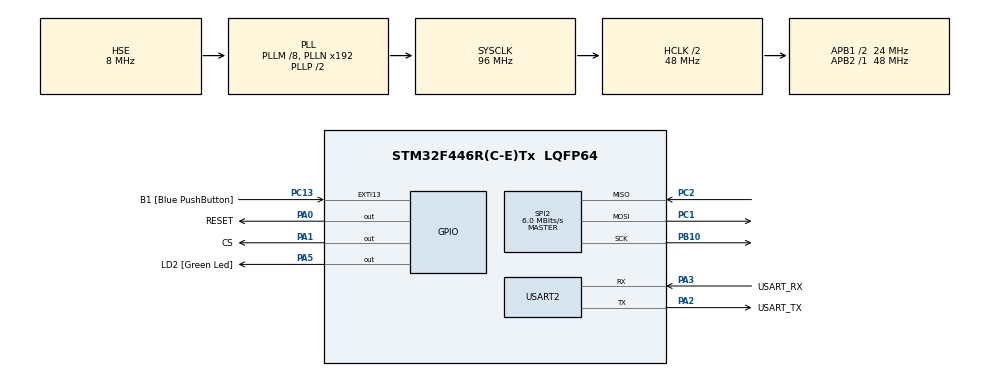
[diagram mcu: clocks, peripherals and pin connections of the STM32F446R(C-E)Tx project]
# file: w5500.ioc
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Mcu.Family=STM32F4
Mcu.Name=STM32F446R(C-E)Tx
Mcu.Package=LQFP64
NVIC.PriorityGroup=NVIC_PRIORITYGROUP_0
PA0-WKUP.GPIO_Label=RESET
PA0-WKUP.Signal=GPIO_Output
PA1.GPIO_Label=CS
PA1.Signal=GPIO_Output
PA13.GPIO_Label=TMS
PA13.Mode=Serial_Wire
PA13.Signal=SYS_JTMS-SWDIO
PA14.GPIO_Label=TCK
PA14.Mode=Serial_Wire
PA14.Signal=SYS_JTCK-SWCLK
PA2.GPIO_Label=USART_TX
PA2.Mode=Asynchronous
PA2.Signal=USART2_TX
PA3.GPIO_Label=USART_RX
PA3.Mode=Asynchronous
PA3.Signal=USART2_RX
PA5.GPIO_Label=LD2 [Green Led]
PA5.Signal=GPIO_Output
PB10.Mode=Full_Duplex_Master
PB10.Signal=SPI2_SCK
PB3.GPIO_Label=SWO
PB3.Signal=SYS_JTDO-SWO
PC1.Mode=Full_Duplex_Master
PC1.Signal=SPI2_MOSI
PC13.GPIO_Label=B1 [Blue PushButton]
PC13.GPIO_ModeDefaultEXTI=GPIO_MODE_IT_FALLING
PC13.Signal=GPXTI13
PC14-OSC32_IN.Signal=RCC_OSC32_IN
PC15-OSC32_OUT.Signal=RCC_OSC32_OUT
PC2.Mode=Full_Duplex_Master
PC2.Signal=SPI2_MISO
PH0-OSC_IN.Mode=HSE-External-Oscillator
PH0-OSC_IN.Signal=RCC_OSC_IN
PH1-OSC_OUT.Mode=HSE-External-Oscillator
PH1-OSC_OUT.Signal=RCC_OSC_OUT
ProjectManager.HeapSize=0x200
ProjectManager.StackSize=0x400
ProjectManager.TargetToolchain=STM32CubeIDE
RCC.48MHZClocksFreq_Value=84000000
RCC.AHBCLKDivider=RCC_SYSCLK_DIV2
RCC.AHBFreq_Value=48000000
RCC.APB1CLKDivider=RCC_HCLK_DIV2
RCC.APB1Freq_Value=24000000
RCC.APB1TimFreq_Value=48000000
RCC.APB2Freq_Value=48000000
RCC.APB2TimFreq_Value=48000000
RCC.CortexFreq_Value=48000000
RCC.FLatency-AdvancedSettings=FLASH_LATENCY_1
RCC.HCLKFreq_Value=48000000
RCC.HSE_VALUE=8000000
RCC.HSI_VALUE=16000000
RCC.PLLM=8
RCC.PLLSourceVirtual=RCC_PLLSOURCE_HSE
RCC.SYSCLKFreq_VALUE=96000000
RCC.SYSCLKSource=RCC_SYSCLKSOURCE_PLLCLK
RCC.USBFreq_Value=96000000
RCC.VCOOutputFreq_Value=192000000
SPI2.BaudRatePrescaler=SPI_BAUDRATEPRESCALER_4
SPI2.CalculateBaudRate=6.0 MBits/s
SPI2.Direction=SPI_DIRECTION_2LINES
SPI2.Mode=SPI_MODE_MASTER
SPI2.VirtualType=VM_MASTER
USART2.VirtualMode=VM_ASYNC
board=NUCLEO-F446RE

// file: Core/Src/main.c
/* USER CODE BEGIN Header */
/**
  ******************************************************************************
  * @file           : main.c
  * @brief          : Main program body
  ******************************************************************************
  * @attention
  *
  * Copyright (c) 2025 STMicroelectronics.
  * All rights reserved.
  *
  * This software is licensed under terms that can be found in the LICENSE file
  * in the root directory of this software component.
  * If no LICENSE file comes with this software, it is provided AS-IS.
  *
  ******************************************************************************
  */
/* USER CODE END Header */
#include "main.h"
#include "spi.h"
#include "usart.h"
#include "gpio.h"

/* USER CODE BEGIN Includes */
#include <stdio.h>
#include <string.h>

#include "w5500_spi.h"
#include "wizchip_conf.h"
#include "socket.h"

/* USER CODE END Includes */

/* USER CODE BEGIN PD */
#define LISTEN_PORT 5000
#define RECEIVE_BUFF_SIZE 128
/* USER CODE END PD */

/* USER CODE BEGIN PV */
uint8_t receive_buff[RECEIVE_BUFF_SIZE];
/* USER CODE END PV */

void SystemClock_Config(void);
/* USER CODE BEGIN PFP */
void SystemClock_Config(void);
static void UWriteData(const char data);
static void PHYStatusCheck(void);
static void PrintPHYConf(void);
/* USER CODE END PFP */

/* USER CODE BEGIN 0 */
wiz_NetInfo gWIZNETINFO = {
		.mac = { 0x80, 0x34, 0x28, 0x74, 0xA5, 0xCB },//MSB - LSB
		.ip ={ 192, 168, 2, 112 },
		.sn = { 255, 255, 255, 0 },
		.gw ={ 192, 168, 1, 1 },
		.dns = { 8, 8, 8, 8 },
		.dhcp = NETINFO_STATIC };
/* USER CODE END 0 */

int main(void)
{

  /* MCU Configuration--------------------------------------------------------*/

  /* Reset of all peripherals, Initializes the Flash interface and the Systick. */
  HAL_Init();

  /* USER CODE BEGIN Init */
  setbuf(stdout, NULL);//disable printf() buffering, output immediately to port.
  /* USER CODE END Init */

  /* Configure the system clock */
  SystemClock_Config();

  /* Initialize all configured peripherals */
  MX_GPIO_Init();
  MX_USART2_UART_Init();
  MX_SPI2_Init();
  /* USER CODE BEGIN 2 */
  printf("A Simple TCP Echo Server Application using W5500!\r\n");

  //Configure network parameters like IP address etc
    ctlnetwork(CN_SET_NETINFO, (void*) &gWIZNETINFO);

    //Configure PHY by software for maximum compatibility
    //so that user can use any model w5500 board
    //else the PINs on the board configure it, which may
    //lead to different configurations in different boards.
    wiz_PhyConf phyconf;

    phyconf.by=PHY_CONFBY_SW;
    phyconf.duplex=PHY_DUPLEX_FULL;
    phyconf.speed=PHY_SPEED_10;//10MBps Ethernet link speed
    phyconf.mode=PHY_MODE_AUTONEGO;//best to go with auto-negotiation

    ctlwizchip(CW_SET_PHYCONF, (void*) &phyconf);//PHY Configuration Command
    //*** End Phy Configuration

    PHYStatusCheck();
    PrintPHYConf();

    //^^^^^^^^^^^^^^^^^^^^^^^^^^^^^^^^^^^^^^^^^^^
     //The above code are common to all projects
     //TCP Echo Server Code begins from here
     //We will listen on socket ID:1 and TCP Port Would be 5000

     printf("\r\n*****************SIMPLE TCP ECHO SERVER******************\r\n");
  /* USER CODE END 2 */

  /* Infinite loop */
  while (1)
  {

    /* USER CODE BEGIN 3 */
	  printf("\r\nInitializing server socket\r\n");

	  	  //Parameters in order socket_id, protocol TCP or UDP, Port number, Flags=0
	  	  //Return value is socket ID on success
	  	  if(socket(1,Sn_MR_TCP,LISTEN_PORT,0)!=1)
	  	  {
	  		  //error
	  		  printf("Cannot create Socket!\r\n");
	  		  while(1);//halt here
	  	  }

	  	  //success
	  	  printf("Socket Created Successfully ! \r\n");

	  	  uint8_t socket_io_mode=SOCK_IO_BLOCK;

	  	  ctlsocket(1, CS_SET_IOMODE , &socket_io_mode);//set blocking IO mode

	  	  printf("Start listening on port %d ! \r\n",LISTEN_PORT);
	  	  printf("Waiting for a client connection. \r\n");

	  	  //Make it a passive socket (i.e. listen for connection)
	  	  if(listen(1)!=SOCK_OK)//our socket id is 1 (w5500 have 8 sockets from 0-7)
	  	  {
	  		  //error
	  		  printf("Cannot listen on port %d",LISTEN_PORT);

	  		  while(1);

	  	  }

	  	  uint8_t sr=0x00;//socket status register

	  	  do
	  	  {
	  		  sr=getSn_SR(1);//read status reg (SR of socket 1)
	  	  }while (sr!=0x17 && sr!=0x00);

	  	  if(sr==0x00)
	  	  {
	  		  printf("Some error occurred on server socket. Please restart.\r\n");
	  		  while(1);
	  	  }

	  	  if(sr==0x17)
	  	  {
	  		  //we come here only when a client has connected.
	  		  //Now we can read data from the socket
	  		  printf("A client connected!\r\n");
	  		  printf("Waiting for Client Data ...!\r\n");

	  		  while(1)
	  		  {
	  			  int len=recv(1, receive_buff, RECEIVE_BUFF_SIZE);

	  			  if(len==SOCKERR_SOCKSTATUS)
	  			  {
	  				  //client has disconnected
	  				  printf("Client has disconnected\r\n");
	  				  printf("*** SESSION OVER ***\r\n\r\n");
	  				  break;
	  			  }

	  			  receive_buff[len]='\0';

	  			  printf("Received %d bytes from client\r\n",len);
	  			  printf("Data Received: %s", receive_buff);

	  			  //Echo the data back encloused in a [] pair
	  			  send(1,(uint8_t*)"[",1);//starting sq bracket
	  			  send(1,receive_buff,len);// the data
	  			  send(1,(uint8_t*)"]",1);//closing sq bracket

	  			  printf("\r\nECHO sent back to client\r\n");

	  			  //Look for quit message and quit if received
	  			  if(strcmp((char*)receive_buff,"QUIT")==0)
	  			  {
	  				  printf("Received QUIT command from client\r\n");
	  				  printf("Disconnecting ... \r\n");
	  				  printf("*** SESSION OVER ***\r\n\r\n");
	  				  disconnect(1);//disconnect from the clinet
	  				  break;//come out of while loop
	  			  }

	  		  }//While loop (as long as client is connected)

	  	  }//if block, client connect success
	    //while loop for next client wait

  }
  /* USER CODE END 3 */
}

void SystemClock_Config(void)
{
  RCC_OscInitTypeDef RCC_OscInitStruct = {0};
  RCC_ClkInitTypeDef RCC_ClkInitStruct = {0};

  /** Configure the main internal regulator output voltage
  */
  __HAL_RCC_PWR_CLK_ENABLE();
  __HAL_PWR_VOLTAGESCALING_CONFIG(PWR_REGULATOR_VOLTAGE_SCALE3);

  /** Initializes the RCC Oscillators according to the specified parameters
  * in the RCC_OscInitTypeDef structure.
  */
  RCC_OscInitStruct.OscillatorType = RCC_OSCILLATORTYPE_HSE;
  RCC_OscInitStruct.HSEState = RCC_HSE_ON;
  RCC_OscInitStruct.PLL.PLLState = RCC_PLL_ON;
  RCC_OscInitStruct.PLL.PLLSource = RCC_PLLSOURCE_HSE;
  RCC_OscInitStruct.PLL.PLLM = 8;
  RCC_OscInitStruct.PLL.PLLN = 192;
  RCC_OscInitStruct.PLL.PLLP = RCC_PLLP_DIV2;
  RCC_OscInitStruct.PLL.PLLQ = 2;
  RCC_OscInitStruct.PLL.PLLR = 2;
  if (HAL_RCC_OscConfig(&RCC_OscInitStruct) != HAL_OK)
  {
    Error_Handler();
  }

  /** Initializes the CPU, AHB and APB buses clocks
  */
  RCC_ClkInitStruct.ClockType = RCC_CLOCKTYPE_HCLK|RCC_CLOCKTYPE_SYSCLK
                              |RCC_CLOCKTYPE_PCLK1|RCC_CLOCKTYPE_PCLK2;
  RCC_ClkInitStruct.SYSCLKSource = RCC_SYSCLKSOURCE_PLLCLK;
  RCC_ClkInitStruct.AHBCLKDivider = RCC_SYSCLK_DIV2;
  RCC_ClkInitStruct.APB1CLKDivider = RCC_HCLK_DIV2;
  RCC_ClkInitStruct.APB2CLKDivider = RCC_HCLK_DIV1;

  if (HAL_RCC_ClockConfig(&RCC_ClkInitStruct, FLASH_LATENCY_1) != HAL_OK)
  {
    Error_Handler();
  }
}

/* USER CODE BEGIN 4 */

void UWriteData(const char data)
{
	while(__HAL_UART_GET_FLAG(&huart2,UART_FLAG_TXE)==RESET);

	huart2.Instance->DR=data;

}

int __io_putchar(int ch)
{
	UWriteData(ch);
	return ch;
}

void PHYStatusCheck(void)
{
	uint8_t tmp;

	do
	{
		printf("\r\nChecking Ethernet Cable Presence ...");
		ctlwizchip(CW_GET_PHYLINK, (void*) &tmp);

		if(tmp == PHY_LINK_OFF)
		{
			printf("NO Cable Connected!");
			HAL_Delay(1500);
		}
	}while(tmp == PHY_LINK_OFF);

	printf("Good! Cable got connected!");

}

void PrintPHYConf(void)
{
	wiz_PhyConf phyconf;

	ctlwizchip(CW_GET_PHYCONF, (void*) &phyconf);

	if(phyconf.by==PHY_CONFBY_HW)
	{
		printf("\r\nPHY Configured by Hardware Pins");
	}
	else
	{
		printf("\r\nPHY Configured by Registers");
	}

	if(phyconf.mode==PHY_MODE_AUTONEGO)
	{
		printf("\r\nAutonegotiation Enabled");
	}
	else
	{
		printf("\r\nAutonegotiation NOT Enabled");
	}

	if(phyconf.duplex==PHY_DUPLEX_FULL)
	{
		printf("\r\nDuplex Mode: Full");
	}
	else
	{
		printf("\r\nDuplex Mode: Half");
	}

	if(phyconf.speed==PHY_SPEED_10)
	{
		printf("\r\nSpeed: 10Mbps");
	}
	else
	{
		printf("\r\nSpeed: 100Mbps");
	}
}
//void MX_SPI2_Init(void)
//{
//
//  /* USER CODE BEGIN SPI1_Init 0 */
//
//  /* USER CODE END SPI1_Init 0 */
//
//  /* USER CODE BEGIN SPI1_Init 1 */
//
//  /* USER CODE END SPI1_Init 1 */
//  /* SPI1 parameter configuration*/
//  hspi2.Instance = SPI2;
//  hspi2.Init.Mode = SPI_MODE_MASTER;
//  hspi2.Init.Direction = SPI_DIRECTION_2LINES;
//  hspi2.Init.DataSize = SPI_DATASIZE_8BIT;
//  hspi2.Init.CLKPolarity = SPI_POLARITY_LOW;
//  hspi2.Init.CLKPhase = SPI_PHASE_1EDGE;
//  hspi2.Init.NSS = SPI_NSS_SOFT;
//  hspi2.Init.BaudRatePrescaler = SPI_BAUDRATEPRESCALER_4;
//  hspi2.Init.FirstBit = SPI_FIRSTBIT_MSB;
//  hspi2.Init.TIMode = SPI_TIMODE_DISABLE;
//  hspi2.Init.CRCCalculation = SPI_CRCCALCULATION_DISABLE;
//  hspi2.Init.CRCPolynomial = 7;
////  hspi2.Init.CRCLength = SPI_CRC_LENGTH_DATASIZE;
////  hspi2.Init.NSSPMode = SPI_NSS_PULSE_ENABLED;
//  if (HAL_SPI_Init(&hspi2) != HAL_OK)
//  {
//    Error_Handler();
//  }
//  /* USER CODE BEGIN SPI1_Init 2 */
//  __HAL_SPI_ENABLE(&hspi2);
//  /* USER CODE END SPI1_Init 2 */
//
//}

/**
  * @brief USART2 Initialization Function
  * @param None
  * @retval None
  */
//void MX_USART2_UART_Init(void)
//{
//
//  /* USER CODE BEGIN USART2_Init 0 */
//
//  /* USER CODE END USART2_Init 0 */
//
//  /* USER CODE BEGIN USART2_Init 1 */
//
//  /* USER CODE END USART2_Init 1 */
//  huart2.Instance = USART2;
//  huart2.Init.BaudRate = 38400;
//  huart2.Init.WordLength = UART_WORDLENGTH_8B;
//  huart2.Init.StopBits = UART_STOPBITS_1;
//  huart2.Init.Parity = UART_PARITY_NONE;
//  huart2.Init.Mode = UART_MODE_TX_RX;
//  huart2.Init.HwFlowCtl = UART_HWCONTROL_NONE;
//  huart2.Init.OverSampling = UART_OVERSAMPLING_16;
////  huart2.Init.OneBitSampling = UART_ONE_BIT_SAMPLE_DISABLE;
////  huart2.AdvancedInit.AdvFeatureInit = UART_ADVFEATURE_NO_INIT;
//  if (HAL_UART_Init(&huart2) != HAL_OK)
//  {
//    Error_Handler();
//  }
//  /* USER CODE BEGIN USART2_Init 2 */
//
//  /* USER CODE END USART2_Init 2 */
//
//}

/**
  * @brief GPIO Initialization Function
  * @param None
  * @retval None
  */
//void MX_GPIO_Init(void)
//{
//
//  /* GPIO Ports Clock Enable */
//  __HAL_RCC_GPIOA_CLK_ENABLE();
//
//}
/* USER CODE END 4 */

void Error_Handler(void)
{
  __disable_irq();
  while (1)
  {
  }
}
